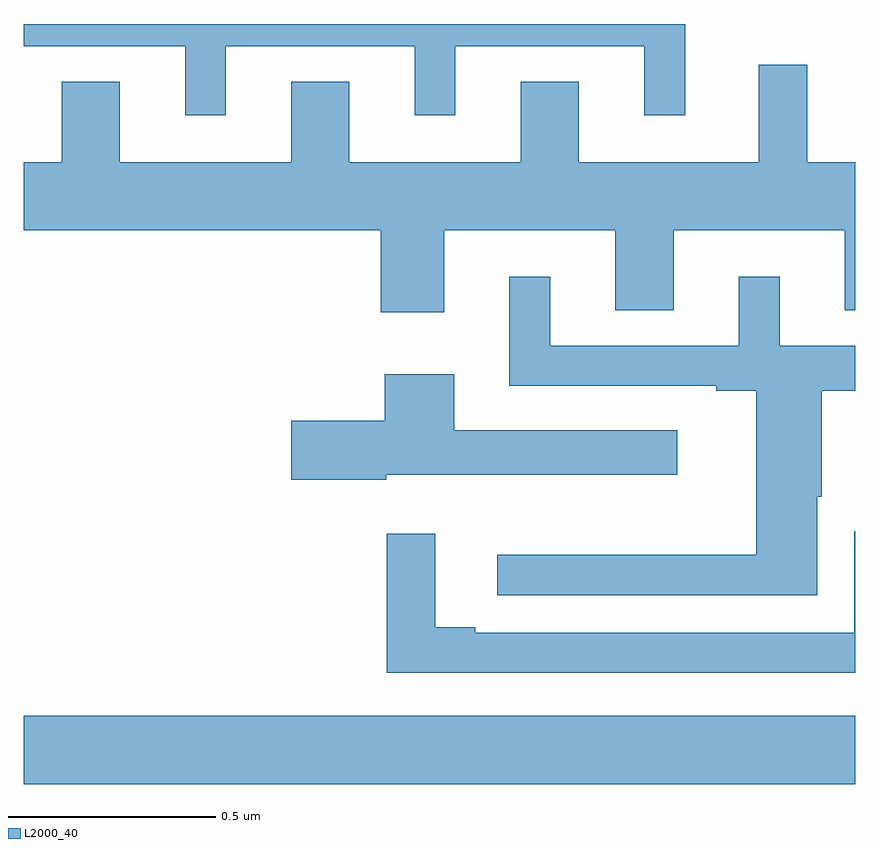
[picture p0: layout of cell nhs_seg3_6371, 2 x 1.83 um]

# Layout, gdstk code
import gdstk
lib = gdstk.Library(unit=1e-6, precision=1e-09)
def R(c, l, rs):  # rectangles x0, y0, x1, y1
    for r in rs: c.add(gdstk.rectangle(r[:2], r[2:], *l))
def P(c, l, *ps):  # polygons
    for p in ps: c.add(gdstk.Polygon(p, *l))
L2000_40 = (2000, 40)

nhs_seg3_6371 = lib.new_cell('nhs_seg3_6371')
R(nhs_seg3_6371, L2000_40, [(190,711.572,192,711.736)])
P(nhs_seg3_6371, L2000_40, [(190.486,713.346),(190.94,713.346),(190.94,713.181),(191.038,713.181),(191.038,713.346),(191.492,713.346),(191.492,713.181),(191.591,713.181),(191.591,713.4),(190,713.4),(190,713.346),(190.388,713.346),(190.388,713.181),(190.486,713.181)],
  [(191.011,712.904),(191.423,712.904),(191.423,712.711),(191.563,712.711),(191.563,712.904),(191.975,712.904),(191.975,712.711),(192,712.711),(192,713.068),(191.885,713.068),(191.885,713.302),(191.768,713.302),(191.768,713.068),(191.335,713.068),(191.335,713.261),(191.195,713.261),(191.195,713.068),(190.783,713.068),(190.783,713.261),(190.643,713.261),(190.643,713.068),(190.231,713.068),(190.231,713.261),(190.091,713.261),(190.091,713.068),(190,713.068),(190,712.904),(190.859,712.904),(190.859,712.707),(191.011,712.707)],
  [(191.908,712.263),(191.92,712.263),(191.92,712.518),(192,712.518),(192,712.626),(191.818,712.626),(191.818,712.792),(191.72,712.792),(191.72,712.626),(191.266,712.626),(191.266,712.792),(191.168,712.792),(191.168,712.53),(191.666,712.53),(191.666,712.518),(191.762,712.518),(191.762,712.124),(191.139,712.124),(191.139,712.026),(191.908,712.026)],
  [(190.872,712.316),(191.572,712.316),(191.572,712.423),(191.035,712.423),(191.035,712.558),(190.868,712.558),(190.868,712.446),(190.644,712.446),(190.644,712.304),(190.872,712.304)],
  [(192,712.18),(191.997,712.18),(191.997,711.936),(191.086,711.936),(191.086,711.949),(190.99,711.949),(190.99,712.174),(190.873,712.174),(190.873,711.84),(192,711.84)])

lib.write_gds('nhs_seg3_6371.gds')
